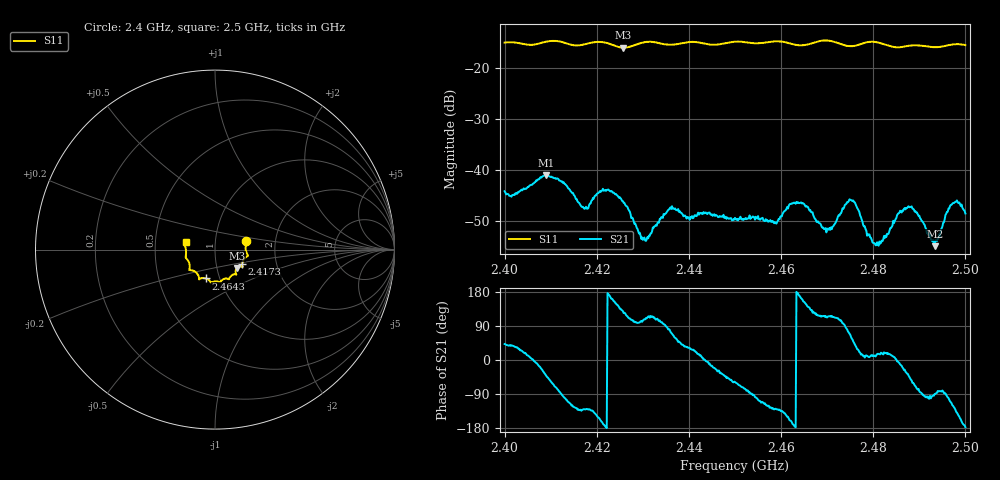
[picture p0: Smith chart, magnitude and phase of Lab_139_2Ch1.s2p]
# Hz S RI R 50
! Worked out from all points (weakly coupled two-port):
!   601 points, 2.4 GHz to 2.5 GHz, reference 50 ohm
!   highest |S21| = -41.08 dB at 2.409 GHz (marker M1); lowest = -55.0 dB at 2.4933 GHz (marker M2)
!   lowest |S11| = -15.9 dB at 2.4257 GHz (marker M3), VSWR 1.38, Z = 62.5 - j13.1 ohm
!   |S11| at or under -10 dB: start of sweep to end of sweep
!   S12 and S22 are empty: the file has one direction only
!   S11 on the Smith chart (normalised r, x): 2.4 GHz: 1.41, +0.14; 2.4173 GHz: 1.34, -0.22; 2.4643 GHz: 0.86, -0.29; 2.5 GHz: 0.72, +0.06
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2.4e9  0.1727 0.0489  0.00456 0.00414  0 0  0 0
2.409e9  0.181 -0.0283  0.00669 -0.00577  0 0  0 0
2.413e9  0.1741 -0.041  -0.00126 -0.00717  0 0  0 0
2.416667e9  0.1528 -0.0742  -0.00302 -0.00313  0 0  0 0
2.417333e9  0.1519 -0.0817  -0.00265 -0.00317  0 0  0 0
2.421667e9  0.1528 -0.0955  -0.00621 -0.000866  0 0  0 0
2.425667e9  0.1229 -0.1021  -0.0031 0.00382  0 0  0 0
2.430167e9  0.1177 -0.137  -0.000588 0.00199  0 0  0 0
2.433333e9  0.1131 -0.1371  -0.000795 0.00293  0 0  0 0
2.436333e9  0.092 -0.1444  0.00156 0.00409  0 0  0 0
2.45e9  0.0289 -0.181  0.00178 -0.00285  0 0  0 0
2.458833e9  -0.0218 -0.1836  -0.00186 -0.00234  0 0  0 0
2.464333e9  -0.0498 -0.1609  -0.00458 0.00137  0 0  0 0
2.466667e9  -0.0758 -0.1593  -0.00254 0.00284  0 0  0 0
2.470333e9  -0.0881 -0.1655  -0.00111 0.00232  0 0  0 0
2.475333e9  -0.1093 -0.1239  0.00276 0.00419  0 0  0 0
2.480167e9  -0.1436 -0.1125  0.00187 0.000361  0 0  0 0
2.483333e9  -0.1409 -0.0899  0.00227 0.000628  0 0  0 0
2.488e9  -0.16 -0.0501  0.00289 -0.0032  0 0  0 0
2.493333e9  -0.1613 -0.0104  7.85e-06 -0.00177  0 0  0 0
2.497167e9  -0.1695 0.0281  -0.00227 -0.00405  0 0  0 0
2.5e9  -0.1637 0.0432  -0.00371 -0.000184  0 0  0 0
